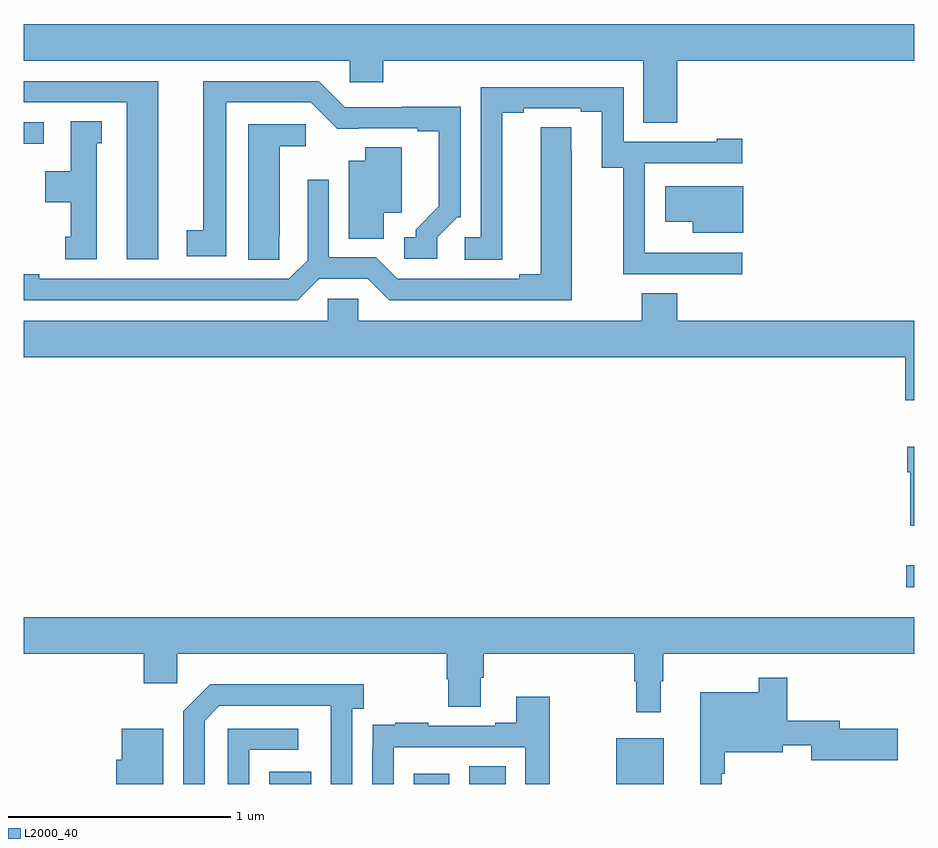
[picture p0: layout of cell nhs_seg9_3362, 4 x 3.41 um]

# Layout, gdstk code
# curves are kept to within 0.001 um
import gdstk
lib = gdstk.Library(unit=1e-6, precision=1e-09)
def R(c, l, rs):  # rectangles x0, y0, x1, y1
    for r in rs: c.add(gdstk.rectangle(r[:2], r[2:], *l))
def P(c, l, *ps):  # polygons
    for p in ps: c.add(gdstk.Polygon(p, *l))
L2000_40 = (2000, 40)

nhs_seg9_3362 = lib.new_cell('nhs_seg9_3362')
R(nhs_seg9_3362, L2000_40, [(304.103,1198.5,304.291,1198.555), (304.751,1198.5,304.912,1198.546), (305,1198.5,305.164,1198.58), (305.66,1198.5,305.875,1198.705), (306.963,1199.384,307,1199.481), (303,1201.374,303.091,1201.47)])
P(nhs_seg9_3362, L2000_40, [(305.936,1201.748),(307,1201.748),(307,1201.912),(303,1201.912),(303,1201.748),(304.464,1201.748),(304.464,1201.65),(304.616,1201.65),(304.616,1201.748),(305.783,1201.748),(305.783,1201.468),(305.936,1201.468)],
  [(303.604,1201.656),(303,1201.656),(303,1201.56),(303.464,1201.56),(303.464,1200.855),(303.604,1200.855)],
  [(304.857,1200.954),(304.947,1201.044),(304.962,1201.044),(304.962,1201.541),(304.699,1201.541),(304.699,1201.539),(304.443,1201.539),(304.326,1201.656),(303.806,1201.656),(303.806,1200.986),(303.732,1200.986),(303.732,1200.87),(303.91,1200.87),(303.91,1201.56),(304.29,1201.56),(304.408,1201.442),(304.769,1201.443),(304.769,1201.431),(304.865,1201.431),(304.865,1201.094),(304.76,1200.989),(304.76,1200.954),(304.71,1200.954),(304.71,1200.858),(304.857,1200.858)],
  [(306.226,1200.885),(305.792,1200.885),(305.792,1200.886),(305.79,1200.886),(305.79,1201.287),(306.226,1201.287),(306.226,1201.396),(306.113,1201.396),(306.113,1201.383),(305.694,1201.383),(305.694,1201.629),(305.052,1201.629),(305.052,1200.954),(304.98,1200.954),(304.98,1200.853),(305.149,1200.853),(305.149,1201.513),(305.245,1201.513),(305.245,1201.533),(305.501,1201.533),(305.501,1201.518),(305.597,1201.518),(305.597,1201.267),(305.692,1201.267),(305.692,1200.789),(306.226,1200.789)],
  [(303.328,1201.377),(303.352,1201.377),(303.352,1201.475),(303.212,1201.475),(303.212,1201.252),(303.098,1201.252),(303.098,1201.112),(303.212,1201.112),(303.212,1200.957),(303.188,1200.957),(303.188,1200.855),(303.328,1200.855)],
  [(304.149,1200.961),(304.15,1200.961),(304.15,1201.364),(304.267,1201.364),(304.267,1201.461),(304.01,1201.461),(304.01,1200.853),(304.149,1200.853)],
  [(304.327,1200.768),(304.545,1200.768),(304.641,1200.672),(305.461,1200.672),(305.46,1201.448),(305.321,1201.448),(305.321,1200.788),(305.225,1200.788),(305.225,1200.768),(304.677,1200.768),(304.581,1200.864),(304.371,1200.864),(304.371,1201.213),(304.275,1201.213),(304.275,1200.852),(304.191,1200.768),(303.07,1200.768),(303.07,1200.788),(303,1200.788),(303,1200.672),(304.231,1200.672)],
  [(304.618,1201.064),(304.699,1201.064),(304.699,1201.358),(304.535,1201.358),(304.535,1201.297),(304.46,1201.297),(304.46,1200.949),(304.618,1200.949)],
  [(306.232,1201.183),(305.88,1201.183),(305.88,1201.025),(306.005,1201.025),(306.005,1200.974),(306.232,1200.974)],
  [(307,1200.58),(305.936,1200.58),(305.936,1200.704),(305.776,1200.704),(305.776,1200.58),(304.503,1200.58),(304.503,1200.678),(304.365,1200.678),(304.365,1200.58),(303,1200.58),(303,1200.416),(306.959,1200.416),(306.959,1200.222),(307,1200.222)],
  [(307,1200.013),(306.968,1200.013),(306.968,1199.9),(306.98,1199.9),(306.98,1199.66),(307,1199.66)],
  [(305.86,1198.961),(305.872,1198.961),(305.872,1199.084),(307,1199.084),(307,1199.248),(303,1199.248),(303,1199.084),(303.539,1199.084),(303.539,1198.953),(303.69,1198.953),(303.69,1199.084),(304.901,1199.084),(304.901,1198.971),(304.906,1198.971),(304.906,1198.846),(305.053,1198.846),(305.053,1198.978),(305.066,1198.978),(305.066,1199.084),(305.743,1199.084),(305.743,1198.961),(305.751,1198.961),(305.751,1198.821),(305.86,1198.821)],
  [(306.135,1198.547),(306.148,1198.547),(306.148,1198.643),(306.409,1198.643),(306.409,1198.673),(306.536,1198.673),(306.536,1198.607),(306.925,1198.607),(306.925,1198.749),(306.664,1198.749),(306.664,1198.783),(306.428,1198.783),(306.428,1198.978),(306.3,1198.978),(306.3,1198.912),(306.038,1198.912),(306.038,1198.5),(306.135,1198.5)],
  [(303.813,1198.785),(303.879,1198.851),(304.379,1198.851),(304.38,1198.5),(304.476,1198.5),(304.476,1198.838),(304.528,1198.838),(304.528,1198.948),(303.838,1198.948),(303.717,1198.827),(303.717,1198.5),(303.813,1198.5)],
  [(304.662,1198.665),(305.253,1198.665),(305.253,1198.5),(305.362,1198.5),(305.362,1198.891),(305.213,1198.891),(305.213,1198.774),(305.117,1198.774),(305.117,1198.761),(304.817,1198.761),(304.817,1198.774),(304.669,1198.774),(304.669,1198.767),(304.567,1198.767),(304.567,1198.658),(304.566,1198.658),(304.566,1198.5),(304.662,1198.5)],
  [(304.014,1198.653),(304.234,1198.653),(304.234,1198.749),(303.918,1198.749),(303.918,1198.5),(304.014,1198.5)],
  [(303.628,1198.747),(303.44,1198.747),(303.44,1198.608),(303.416,1198.608),(303.416,1198.5),(303.628,1198.5)])

lib.write_gds('nhs_seg9_3362.gds')
